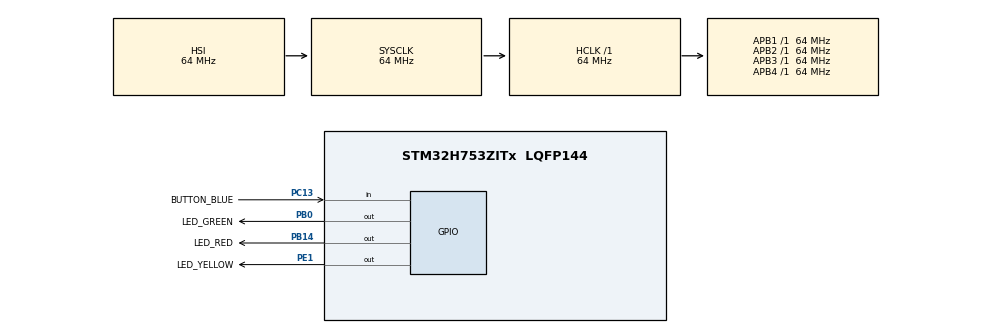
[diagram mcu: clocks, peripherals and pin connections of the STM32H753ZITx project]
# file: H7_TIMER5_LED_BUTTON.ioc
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CORTEX_M7.default_mode_Activation=1
Mcu.Family=STM32H7
Mcu.Name=STM32H753ZITx
Mcu.Package=LQFP144
NVIC.PriorityGroup=NVIC_PRIORITYGROUP_4
NVIC.TIM2_IRQn=true\:0\:0\:false\:false\:true\:true\:true\:true
PB0.GPIO_Label=LED_GREEN
PB0.Signal=GPIO_Output
PB14.GPIO_Label=LED_RED
PB14.Signal=GPIO_Output
PC13.GPIO_Label=BUTTON_BLUE
PC13.Signal=GPIO_Input
PE1.GPIO_Label=LED_YELLOW
PE1.Signal=GPIO_Output
ProjectManager.HeapSize=0x200
ProjectManager.StackSize=0x400
ProjectManager.TargetToolchain=STM32CubeIDE
RCC.ADCFreq_Value=129000000
RCC.APB1Freq_Value=64000000
RCC.APB2Freq_Value=64000000
RCC.APB3Freq_Value=64000000
RCC.APB4Freq_Value=64000000
RCC.CortexFreq_Value=64000000
RCC.HCLKFreq_Value=64000000
RCC.SYSCLKFreq_VALUE=64000000
RCC.USBFreq_Value=129000000
VP_MEMORYMAP_VS_MEMORYMAP.Mode=CurAppReg
VP_TIM2_VS_ClockSourceINT.Mode=Internal
board=custom

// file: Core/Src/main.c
/* USER CODE BEGIN Header */
/**
  ******************************************************************************
  * @file           : main.c
  * @brief          : Main program body
  ******************************************************************************
  * @attention
  *
  * Copyright (c) 2025 STMicroelectronics.
  * All rights reserved.
  *
  * This software is licensed under terms that can be found in the LICENSE file
  * in the root directory of this software component.
  * If no LICENSE file comes with this software, it is provided AS-IS.
  *
  ******************************************************************************
  */
/* USER CODE END Header */
#include "main.h"

TIM_HandleTypeDef htim2;

/* USER CODE BEGIN PV */
volatile uint8_t led_state = 0;
volatile uint8_t system_active = 0;
/* USER CODE END PV */

void SystemClock_Config(void);
static void MPU_Config(void);
static void MX_GPIO_Init(void);
static void MX_TIM2_Init(void);
/* USER CODE BEGIN PFP */
void HandleButton(void);
/* USER CODE END PFP */

/* USER CODE BEGIN 0 */
void HAL_TIM_PeriodElapsedCallback(TIM_HandleTypeDef *htim) {
  if (htim->Instance == TIM2 && system_active) {
    led_state ^= 1;
    HAL_GPIO_WritePin(LED_GREEN_GPIO_Port, LED_GREEN_Pin, led_state ? GPIO_PIN_SET : GPIO_PIN_RESET);
    HAL_GPIO_WritePin(LED_RED_GPIO_Port, LED_RED_Pin, led_state ? GPIO_PIN_RESET : GPIO_PIN_SET);
    HAL_GPIO_WritePin(LED_YELLOW_GPIO_Port, LED_YELLOW_Pin, GPIO_PIN_RESET);
  }
}

void HandleButton(void) {
  if (HAL_GPIO_ReadPin(BUTTON_BLUE_GPIO_Port, BUTTON_BLUE_Pin) == GPIO_PIN_SET) {
    HAL_Delay(50); // Debounce
    if (HAL_GPIO_ReadPin(BUTTON_BLUE_GPIO_Port, BUTTON_BLUE_Pin) == GPIO_PIN_SET) {
      system_active ^= 1; // Alterna o estado do sistema

      // Se sistema foi desativado, apaga todos os LEDs
      if (!system_active) {
        HAL_GPIO_WritePin(LED_GREEN_GPIO_Port, LED_GREEN_Pin, GPIO_PIN_RESET);
        HAL_GPIO_WritePin(LED_RED_GPIO_Port, LED_RED_Pin, GPIO_PIN_RESET);
        HAL_GPIO_WritePin(LED_YELLOW_GPIO_Port, LED_YELLOW_Pin, GPIO_PIN_RESET);
      }

      // Aguarda botão ser solto
      while (HAL_GPIO_ReadPin(BUTTON_BLUE_GPIO_Port, BUTTON_BLUE_Pin) == GPIO_PIN_SET);
    }
  }
}
/* USER CODE END 0 */

int main(void)
{
  /* MCU Configuration--------------------------------------------------------*/
  HAL_Init();
  SystemClock_Config();
  MX_GPIO_Init();
  MX_TIM2_Init();

  /* USER CODE BEGIN 2 */
  HAL_TIM_Base_Start_IT(&htim2);

  // Inicia com todos os LEDs desligados
  HAL_GPIO_WritePin(LED_GREEN_GPIO_Port, LED_GREEN_Pin, GPIO_PIN_RESET);
  HAL_GPIO_WritePin(LED_RED_GPIO_Port, LED_RED_Pin, GPIO_PIN_RESET);
  HAL_GPIO_WritePin(LED_YELLOW_GPIO_Port, LED_YELLOW_Pin, GPIO_PIN_RESET);
  /* USER CODE END 2 */

  /* Infinite loop */
  /* USER CODE BEGIN WHILE */
  while (1)
  {
    HandleButton();
    HAL_Delay(10);
    /* USER CODE END WHILE */

  }
}

void SystemClock_Config(void)
{
  RCC_OscInitTypeDef RCC_OscInitStruct = {0};
  RCC_ClkInitTypeDef RCC_ClkInitStruct = {0};

  /** Supply configuration update enable
  */
  HAL_PWREx_ConfigSupply(PWR_LDO_SUPPLY);

  /** Configure the main internal regulator output voltage
  */
  __HAL_PWR_VOLTAGESCALING_CONFIG(PWR_REGULATOR_VOLTAGE_SCALE3);

  while(!__HAL_PWR_GET_FLAG(PWR_FLAG_VOSRDY)) {}

  /** Initializes the RCC Oscillators according to the specified parameters
  * in the RCC_OscInitTypeDef structure.
  */
  RCC_OscInitStruct.OscillatorType = RCC_OSCILLATORTYPE_HSI;
  RCC_OscInitStruct.HSIState = RCC_HSI_DIV1;
  RCC_OscInitStruct.HSICalibrationValue = RCC_HSICALIBRATION_DEFAULT;
  RCC_OscInitStruct.PLL.PLLState = RCC_PLL_NONE;
  if (HAL_RCC_OscConfig(&RCC_OscInitStruct) != HAL_OK)
  {
    Error_Handler();
  }

  /** Initializes the CPU, AHB and APB buses clocks
  */
  RCC_ClkInitStruct.ClockType = RCC_CLOCKTYPE_HCLK|RCC_CLOCKTYPE_SYSCLK
                              |RCC_CLOCKTYPE_PCLK1|RCC_CLOCKTYPE_PCLK2
                              |RCC_CLOCKTYPE_D3PCLK1|RCC_CLOCKTYPE_D1PCLK1;
  RCC_ClkInitStruct.SYSCLKSource = RCC_SYSCLKSOURCE_HSI;
  RCC_ClkInitStruct.SYSCLKDivider = RCC_SYSCLK_DIV1;
  RCC_ClkInitStruct.AHBCLKDivider = RCC_HCLK_DIV1;
  RCC_ClkInitStruct.APB3CLKDivider = RCC_APB3_DIV1;
  RCC_ClkInitStruct.APB1CLKDivider = RCC_APB1_DIV1;
  RCC_ClkInitStruct.APB2CLKDivider = RCC_APB2_DIV1;
  RCC_ClkInitStruct.APB4CLKDivider = RCC_APB4_DIV1;

  if (HAL_RCC_ClockConfig(&RCC_ClkInitStruct, FLASH_LATENCY_1) != HAL_OK)
  {
    Error_Handler();
  }
}

static void MX_TIM2_Init(void)
{
  TIM_ClockConfigTypeDef sClockSourceConfig = {0};
  TIM_MasterConfigTypeDef sMasterConfig = {0};

  htim2.Instance = TIM2;
  htim2.Init.Prescaler = 8000 - 1;  // Dividindo o clock (16MHz) para 2kHz
  htim2.Init.CounterMode = TIM_COUNTERMODE_UP;
  htim2.Init.Period = 1000 - 1;     // Interrupção a cada 500ms
  htim2.Init.ClockDivision = TIM_CLOCKDIVISION_DIV1;
  htim2.Init.AutoReloadPreload = TIM_AUTORELOAD_PRELOAD_DISABLE;
  if (HAL_TIM_Base_Init(&htim2) != HAL_OK)
  {
    Error_Handler();
  }

  sClockSourceConfig.ClockSource = TIM_CLOCKSOURCE_INTERNAL;
  if (HAL_TIM_ConfigClockSource(&htim2, &sClockSourceConfig) != HAL_OK)
  {
    Error_Handler();
  }

  sMasterConfig.MasterOutputTrigger = TIM_TRGO_RESET;
  sMasterConfig.MasterSlaveMode = TIM_MASTERSLAVEMODE_DISABLE;
  if (HAL_TIMEx_MasterConfigSynchronization(&htim2, &sMasterConfig) != HAL_OK)
  {
    Error_Handler();
  }
}

static void MX_GPIO_Init(void)
{
  GPIO_InitTypeDef GPIO_InitStruct = {0};

  /* GPIO Ports Clock Enable */
  __HAL_RCC_GPIOC_CLK_ENABLE();
  __HAL_RCC_GPIOB_CLK_ENABLE();
  __HAL_RCC_GPIOE_CLK_ENABLE();

  /*Configure GPIO pin Output Level */
  HAL_GPIO_WritePin(GPIOB, LED_GREEN_Pin|LED_RED_Pin, GPIO_PIN_RESET);

  /*Configure GPIO pin Output Level */
  HAL_GPIO_WritePin(LED_YELLOW_GPIO_Port, LED_YELLOW_Pin, GPIO_PIN_RESET);

  /*Configure GPIO pin : BUTTON_BLUE_Pin */
  GPIO_InitStruct.Pin = BUTTON_BLUE_Pin;
  GPIO_InitStruct.Mode = GPIO_MODE_INPUT;
  GPIO_InitStruct.Pull = GPIO_PULLDOWN;
  HAL_GPIO_Init(BUTTON_BLUE_GPIO_Port, &GPIO_InitStruct);

  /*Configure GPIO pins : LED_GREEN_Pin LED_RED_Pin */
  GPIO_InitStruct.Pin = LED_GREEN_Pin|LED_RED_Pin;
  GPIO_InitStruct.Mode = GPIO_MODE_OUTPUT_PP;
  GPIO_InitStruct.Pull = GPIO_NOPULL;
  GPIO_InitStruct.Speed = GPIO_SPEED_FREQ_LOW;
  HAL_GPIO_Init(GPIOB, &GPIO_InitStruct);

  /*Configure GPIO pin : LED_YELLOW_Pin */
  GPIO_InitStruct.Pin = LED_YELLOW_Pin;
  GPIO_InitStruct.Mode = GPIO_MODE_OUTPUT_PP;
  GPIO_InitStruct.Pull = GPIO_NOPULL;
  GPIO_InitStruct.Speed = GPIO_SPEED_FREQ_LOW;
  HAL_GPIO_Init(LED_YELLOW_GPIO_Port, &GPIO_InitStruct);
}

/* MPU Configuration */
void MPU_Config(void)
{
  MPU_Region_InitTypeDef MPU_InitStruct = {0};

  /* Disables the MPU */
  HAL_MPU_Disable();

  /** Initializes and configures the Region and the memory to be protected
  */
  MPU_InitStruct.Enable = MPU_REGION_ENABLE;
  MPU_InitStruct.Number = MPU_REGION_NUMBER0;
  MPU_InitStruct.BaseAddress = 0x0;
  MPU_InitStruct.Size = MPU_REGION_SIZE_4GB;
  MPU_InitStruct.SubRegionDisable = 0x87;
  MPU_InitStruct.TypeExtField = MPU_TEX_LEVEL0;
  MPU_InitStruct.AccessPermission = MPU_REGION_NO_ACCESS;
  MPU_InitStruct.DisableExec = MPU_INSTRUCTION_ACCESS_DISABLE;
  MPU_InitStruct.IsShareable = MPU_ACCESS_SHAREABLE;
  MPU_InitStruct.IsCacheable = MPU_ACCESS_NOT_CACHEABLE;
  MPU_InitStruct.IsBufferable = MPU_ACCESS_NOT_BUFFERABLE;

  HAL_MPU_ConfigRegion(&MPU_InitStruct);
  /* Enables the MPU */
  HAL_MPU_Enable(MPU_PRIVILEGED_DEFAULT);
}

void Error_Handler(void)
{
  __disable_irq();
  while (1)
  {
  }
}
